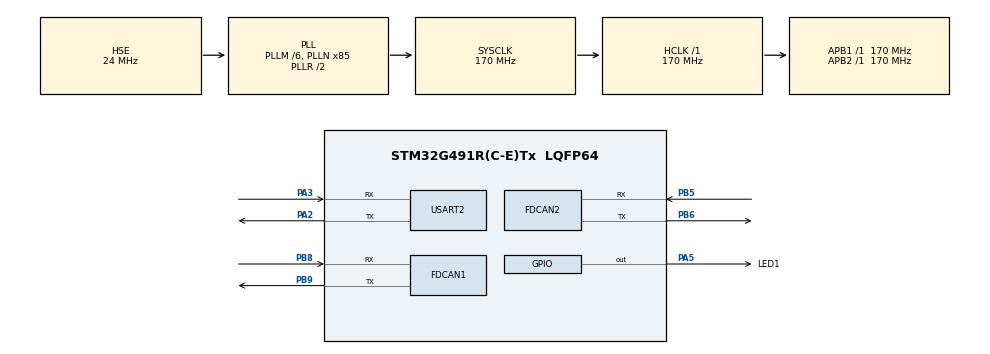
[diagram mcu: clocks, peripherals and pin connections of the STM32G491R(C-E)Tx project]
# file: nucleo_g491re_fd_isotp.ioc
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FDCAN1.AutoRetransmission=ENABLE
FDCAN1.CalculateBaudRateNominal=499999
FDCAN1.CalculateTimeBitNominal=2000
FDCAN1.CalculateTimeQuantumNominal=58.82352941176471
FDCAN1.DataPrescaler=5
FDCAN1.DataSyncJumpWidth=4
FDCAN1.DataTimeSeg1=12
FDCAN1.DataTimeSeg2=4
FDCAN1.FrameFormat=FDCAN_FRAME_FD_BRS
FDCAN1.NominalPrescaler=10
FDCAN1.NominalSyncJumpWidth=6
FDCAN1.NominalTimeSeg1=27
FDCAN1.NominalTimeSeg2=6
FDCAN2.AutoRetransmission=ENABLE
FDCAN2.CalculateBaudRateNominal=499999
FDCAN2.CalculateTimeBitNominal=2000
FDCAN2.CalculateTimeQuantumNominal=58.82352941176471
FDCAN2.DataPrescaler=5
FDCAN2.DataSyncJumpWidth=4
FDCAN2.DataTimeSeg1=12
FDCAN2.DataTimeSeg2=4
FDCAN2.FrameFormat=FDCAN_FRAME_FD_BRS
FDCAN2.NominalPrescaler=10
FDCAN2.NominalSyncJumpWidth=6
FDCAN2.NominalTimeSeg1=27
FDCAN2.NominalTimeSeg2=6
Mcu.Family=STM32G4
Mcu.Name=STM32G491R(C-E)Tx
Mcu.Package=LQFP64
NVIC.FDCAN1_IT0_IRQn=true\:0\:0\:false\:false\:true\:true\:true\:true
NVIC.FDCAN1_IT1_IRQn=true\:0\:0\:false\:false\:true\:true\:true\:true
NVIC.FDCAN2_IT0_IRQn=true\:0\:0\:false\:false\:true\:true\:true\:true
NVIC.FDCAN2_IT1_IRQn=true\:0\:0\:false\:false\:true\:true\:true\:true
NVIC.PriorityGroup=NVIC_PRIORITYGROUP_4
PA2.Mode=Asynchronous
PA2.Signal=USART2_TX
PA3.Mode=Asynchronous
PA3.Signal=USART2_RX
PA5.GPIO_Label=LED1
PA5.Signal=GPIO_Output
PB5.Mode=FDCAN_Activate
PB5.Signal=FDCAN2_RX
PB6.Mode=FDCAN_Activate
PB6.Signal=FDCAN2_TX
PB8-BOOT0.Mode=FDCAN_Activate
PB8-BOOT0.Signal=FDCAN1_RX
PB9.Mode=FDCAN_Activate
PB9.Signal=FDCAN1_TX
PF0-OSC_IN.Mode=HSE-External-Oscillator
PF0-OSC_IN.Signal=RCC_OSC_IN
PF1-OSC_OUT.Mode=HSE-External-Oscillator
PF1-OSC_OUT.Signal=RCC_OSC_OUT
ProjectManager.HeapSize=0x200
ProjectManager.StackSize=0x400
ProjectManager.TargetToolchain=STM32CubeIDE
RCC.ADC12Freq_Value=170000000
RCC.ADC345Freq_Value=170000000
RCC.AHBFreq_Value=170000000
RCC.APB1Freq_Value=170000000
RCC.APB1TimFreq_Value=170000000
RCC.APB2Freq_Value=170000000
RCC.APB2TimFreq_Value=170000000
RCC.CortexFreq_Value=170000000
RCC.EXTERNAL_CLOCK_VALUE=12288000
RCC.HCLKFreq_Value=170000000
RCC.HSE_VALUE=24000000
RCC.HSI48_VALUE=48000000
RCC.HSI_VALUE=16000000
RCC.LSE_VALUE=32768
RCC.PLLM=RCC_PLLM_DIV6
RCC.PLLN=85
RCC.PLLSourceVirtual=RCC_PLLSOURCE_HSE
RCC.SYSCLKFreq_VALUE=170000000
RCC.SYSCLKSource=RCC_SYSCLKSOURCE_PLLCLK
RCC.VCOOutputFreq_Value=340000000
TIM17.Prescaler=169
USART2.VirtualMode-Asynchronous=VM_ASYNC
VP_SYS_VS_DBSignals.Mode=DisableDeadBatterySignals
VP_TIM17_VS_ClockSourceINT.Mode=Enable_Timer
board=custom

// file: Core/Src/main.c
/* USER CODE BEGIN Header */
/**
  ******************************************************************************
  * @file           : main.c
  * @brief          : Main program body
  ******************************************************************************
  * @attention
  *
  * Copyright (c) 2026 STMicroelectronics.
  * All rights reserved.
  *
  * This software is licensed under terms that can be found in the LICENSE file
  * in the root directory of this software component.
  * If no LICENSE file comes with this software, it is provided AS-IS.
  *
  ******************************************************************************
  */
/* USER CODE END Header */
#include "main.h"
#include "fdcan.h"
#include "tim.h"
#include "usart.h"
#include "gpio.h"

/* USER CODE BEGIN Includes */
#include "can_app.h"
/* USER CODE END Includes */

/* USER CODE BEGIN PV */
static uint32_t isotp_last_send_tick = 0U;
static const uint8_t isotp_payload1[] = "CAN1 to CAN2 ISO-TP classic payload on FD-capable FDCAN";
static const uint8_t isotp_payload2[] =
    "CAN2 to CAN1 ISO-TP classic reverse payload on the FD-capable example";
static uint8_t isotp_payload3[5000U];
/* USER CODE END PV */

void SystemClock_Config(void);

/* USER CODE BEGIN 0 */
static void init_isotp_payload3(void)
{
  for (uint32_t i = 0U; i < sizeof(isotp_payload3); i++)
  {
    isotp_payload3[i] = (uint8_t)('A' + (i % 26U));
  }
}
/* USER CODE END 0 */

int main(void)
{

  /* MCU Configuration--------------------------------------------------------*/

  /* Reset of all peripherals, Initializes the Flash interface and the Systick. */
  HAL_Init();

  /* Configure the system clock */
  SystemClock_Config();

  /* Initialize all configured peripherals */
  MX_GPIO_Init();
  MX_FDCAN1_Init();
  MX_FDCAN2_Init();
  MX_USART2_UART_Init();
  MX_TIM17_Init();
  /* USER CODE BEGIN 2 */
  can_app_init();
  init_isotp_payload3();
  /* USER CODE END 2 */

  /* Infinite loop */
  /* USER CODE BEGIN WHILE */
  while (1)
  {
	  can_app_poll();
	  if ((uint32_t)(HAL_GetTick() - isotp_last_send_tick) >= 5000U)
	  {
		  isotp_last_send_tick = HAL_GetTick();
		  can_app_send_isotp_tx1(isotp_payload1, sizeof(isotp_payload1) - 1U);
		  can_app_send_isotp_tx2(isotp_payload2, sizeof(isotp_payload2) - 1U);
		  can_app_send_isotp_tx3(isotp_payload3, sizeof(isotp_payload3));
	  }

    /* USER CODE END WHILE */

  }
}

void SystemClock_Config(void)
{
  RCC_OscInitTypeDef RCC_OscInitStruct = {0};
  RCC_ClkInitTypeDef RCC_ClkInitStruct = {0};

  /** Configure the main internal regulator output voltage
  */
  HAL_PWREx_ControlVoltageScaling(PWR_REGULATOR_VOLTAGE_SCALE1_BOOST);

  /** Initializes the RCC Oscillators according to the specified parameters
  * in the RCC_OscInitTypeDef structure.
  */
  RCC_OscInitStruct.OscillatorType = RCC_OSCILLATORTYPE_HSE;
  RCC_OscInitStruct.HSEState = RCC_HSE_ON;
  RCC_OscInitStruct.PLL.PLLState = RCC_PLL_ON;
  RCC_OscInitStruct.PLL.PLLSource = RCC_PLLSOURCE_HSE;
  RCC_OscInitStruct.PLL.PLLM = RCC_PLLM_DIV6;
  RCC_OscInitStruct.PLL.PLLN = 85;
  RCC_OscInitStruct.PLL.PLLP = RCC_PLLP_DIV2;
  RCC_OscInitStruct.PLL.PLLQ = RCC_PLLQ_DIV2;
  RCC_OscInitStruct.PLL.PLLR = RCC_PLLR_DIV2;
  if (HAL_RCC_OscConfig(&RCC_OscInitStruct) != HAL_OK)
  {
    Error_Handler();
  }

  /** Initializes the CPU, AHB and APB buses clocks
  */
  RCC_ClkInitStruct.ClockType = RCC_CLOCKTYPE_HCLK|RCC_CLOCKTYPE_SYSCLK
                              |RCC_CLOCKTYPE_PCLK1|RCC_CLOCKTYPE_PCLK2;
  RCC_ClkInitStruct.SYSCLKSource = RCC_SYSCLKSOURCE_PLLCLK;
  RCC_ClkInitStruct.AHBCLKDivider = RCC_SYSCLK_DIV1;
  RCC_ClkInitStruct.APB1CLKDivider = RCC_HCLK_DIV1;
  RCC_ClkInitStruct.APB2CLKDivider = RCC_HCLK_DIV1;

  if (HAL_RCC_ClockConfig(&RCC_ClkInitStruct, FLASH_LATENCY_4) != HAL_OK)
  {
    Error_Handler();
  }
}

void Error_Handler(void)
{
  __disable_irq();
  while (1)
  {
  }
}
